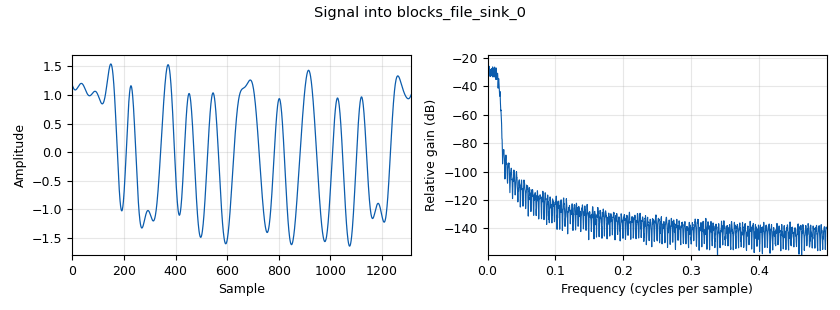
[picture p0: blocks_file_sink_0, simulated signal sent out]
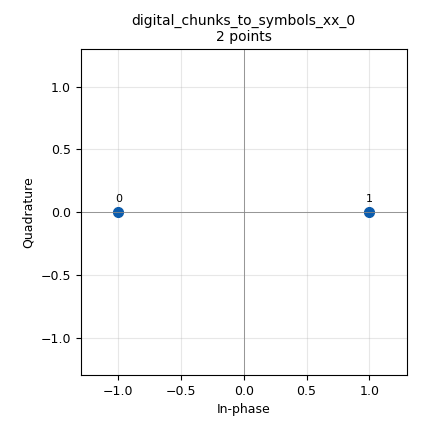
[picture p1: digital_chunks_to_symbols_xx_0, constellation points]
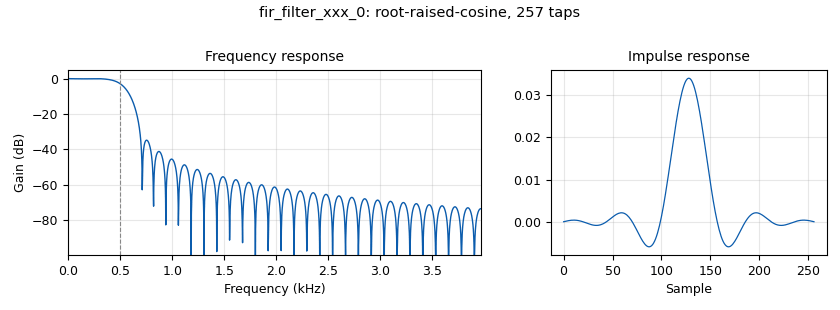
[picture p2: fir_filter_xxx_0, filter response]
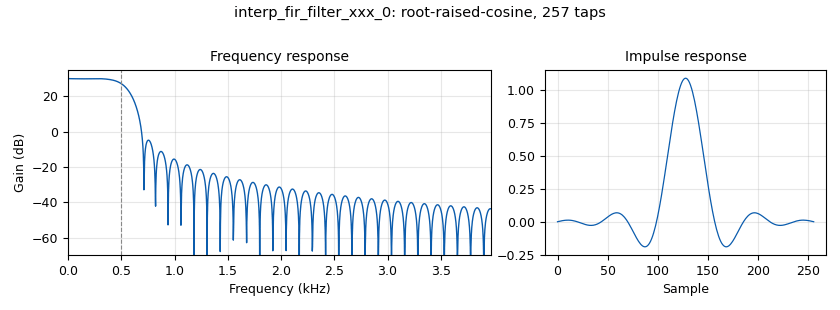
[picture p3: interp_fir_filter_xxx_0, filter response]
options:
  parameters:
    author: Dhrubjun
    generate_options: qt_gui
    id: exp9
    output_language: python
    title: Constructing an Eye Diagram
  states: {}

blocks:
- name: alpha
  id: variable
  parameters:
    value: '0.35'
  states: {}
- name: ntaps
  id: variable
  parameters:
    value: span * sps + 1
  states: {}
- name: samp_rate
  id: variable
  parameters:
    value: '32000'
  states: {}
- name: span
  id: variable
  parameters:
    value: '8'
  states: {}
- name: sps
  id: variable
  parameters:
    value: int(samp_rate / symbol_rate)
  states: {}
- name: symbol_rate
  id: variable
  parameters:
    value: '1000'
  states: {}
- name: analog_noise_source_x_0
  id: analog_noise_source_x
  parameters:
    amp: '0.5'
    noise_type: analog.GR_GAUSSIAN
    seed: '0'
    type: float
  states: {}
- name: analog_random_source_x_0
  id: analog_random_source_x
  parameters:
    max: '2'
    min: '0'
    num_samps: '1000'
    repeat: 'True'
    type: byte
  states: {}
- name: blocks_add_xx_0
  id: blocks_add_xx
  parameters:
    type: float
  states: {}
- name: blocks_file_sink_0
  id: blocks_file_sink
  parameters:
    file: ch18-eye-05.dat
    type: float
  states: {}
- name: blocks_throttle2_0
  id: blocks_throttle2
  parameters:
    samples_per_second: samp_rate
    type: float
  states: {}
- name: digital_chunks_to_symbols_xx_0
  id: digital_chunks_to_symbols_xx
  parameters:
    dimension: '1'
    in_type: byte
    out_type: float
    symbol_table: '[-1,1]'
  states: {}
- name: fir_filter_xxx_0
  id: fir_filter_xxx
  parameters:
    decim: '1'
    taps: firdes.root_raised_cosine(1, samp_rate, symbol_rate, alpha, ntaps)
    type: fff
  states: {}
- name: interp_fir_filter_xxx_0
  id: interp_fir_filter_xxx
  parameters:
    interp: sps
    taps: firdes.root_raised_cosine(sps, samp_rate, symbol_rate, alpha, ntaps)
    type: fff
  states: {}

connections:
- [analog_noise_source_x_0, '0', blocks_add_xx_0, '1']
- [analog_random_source_x_0, '0', digital_chunks_to_symbols_xx_0, '0']
- [blocks_add_xx_0, '0', fir_filter_xxx_0, '0']
- [blocks_throttle2_0, '0', blocks_add_xx_0, '0']
- [digital_chunks_to_symbols_xx_0, '0', interp_fir_filter_xxx_0, '0']
- [fir_filter_xxx_0, '0', blocks_file_sink_0, '0']
- [interp_fir_filter_xxx_0, '0', blocks_throttle2_0, '0']

metadata:
  file_format: 1
  grc_version: 3.10.12.0
